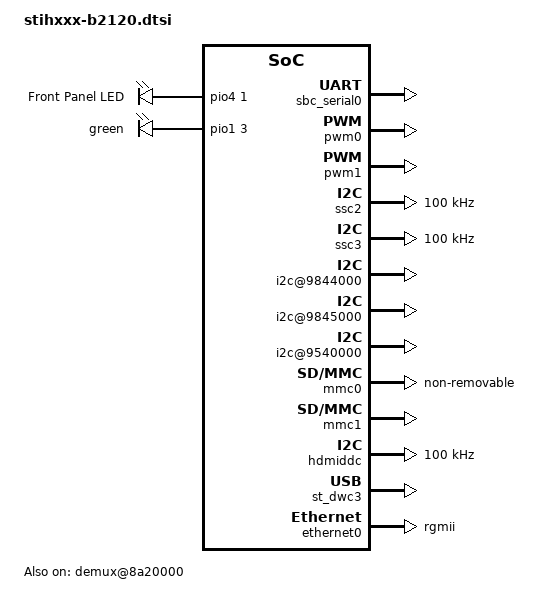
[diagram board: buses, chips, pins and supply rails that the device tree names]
// SPDX-License-Identifier: GPL-2.0-only
/*
 * Copyright (C) 2014 STMicroelectronics (R&D) Limited.
 * Author: Giuseppe Cavallaro <peppe.cavallaro@st.com>
 */
#include <dt-bindings/clock/stih407-clks.h>
#include <dt-bindings/gpio/gpio.h>
#include <dt-bindings/media/c8sectpfe.h>
/ {
	leds {
		compatible = "gpio-leds";
		red {
			label = "Front Panel LED";
			gpios = <&pio4 1 GPIO_ACTIVE_HIGH>;
			linux,default-trigger = "heartbeat";
		};
		green {
			gpios = <&pio1 3 GPIO_ACTIVE_HIGH>;
			default-state = "off";
		};
	};

	sound: sound {
		compatible = "simple-audio-card";
		simple-audio-card,name = "STI-B2120";
		status = "okay";
		#address-cells = <1>;
		#size-cells = <0>;

		simple-audio-card,dai-link@0 {
			reg = <0>;
			/* HDMI */
			format = "i2s";
			mclk-fs = <128>;
			cpu {
				sound-dai = <&sti_uni_player0>;
			};

			codec {
				sound-dai = <&sti_hdmi>;
			};
		};

		simple-audio-card,dai-link@1 {
			reg = <1>;
			/* DAC */
			format = "i2s";
			mclk-fs = <256>;
			frame-inversion;
			cpu {
				sound-dai = <&sti_uni_player2>;
			};

			codec {
				sound-dai = <&sti_sasg_codec 1>;
			};
		};

		simple-audio-card,dai-link@2 {
			reg = <2>;
			/* SPDIF */
			format = "left_j";
			mclk-fs = <128>;
			cpu {
				sound-dai = <&sti_uni_player3>;
			};

			codec {
				sound-dai = <&sti_sasg_codec 0>;
			};
		};
	};

	miphy28lp_phy: miphy28lp {

		phy_port0: port@9b22000 {
			st,osc-rdy;
		};

		phy_port1: port@9b2a000 {
			st,osc-force-ext;
		};
	};

	soc {
		sbc_serial0: serial@9530000 {
			status = "okay";
		};

		pwm0: pwm@9810000 {
			status = "okay";
		};

		pwm1: pwm@9510000 {
			status = "okay";
		};

		ssc2: i2c@9842000 {
			status = "okay";
			clock-frequency = <100000>;
			st,i2c-min-scl-pulse-width-us = <0>;
			st,i2c-min-sda-pulse-width-us = <5>;
		};

		ssc3: i2c@9843000 {
			status = "okay";
			clock-frequency = <100000>;
			st,i2c-min-scl-pulse-width-us = <0>;
			st,i2c-min-sda-pulse-width-us = <5>;
		};

		i2c@9844000 {
			status = "okay";
		};

		i2c@9845000 {
			status = "okay";
		};

		i2c@9540000 {
			status = "okay";
		};

		mmc0: sdhci@9060000 {
			non-removable;
			status = "okay";
		};

		mmc1: sdhci@9080000 {
			status = "okay";
		};

		/* SSC11 to HDMI */
		hdmiddc: i2c@9541000 {
			status = "okay";
			/* HDMI V1.3a supports Standard mode only */
			clock-frequency = <100000>;
			st,i2c-min-scl-pulse-width-us = <0>;
			st,i2c-min-sda-pulse-width-us = <5>;
		};

		st_dwc3: dwc3@8f94000 {
			status = "okay";
		};

		ethernet0: dwmac@9630000 {
			st,tx-retime-src = "clkgen";
			status = "okay";
			phy-mode = "rgmii";
			fixed-link = <0 1 1000 0 0>;
		};

		demux@8a20000 {
			compatible	= "st,stih407-c8sectpfe";
			status		= "okay";
			reg		= <0x08a20000 0x10000>,
					  <0x08a00000 0x4000>;
			reg-names	= "c8sectpfe", "c8sectpfe-ram";
			interrupts	= <GIC_SPI 34 IRQ_TYPE_LEVEL_HIGH>,
					  <GIC_SPI 35 IRQ_TYPE_LEVEL_HIGH>;
			interrupt-names	= "c8sectpfe-error-irq",
					  "c8sectpfe-idle-irq";
			pinctrl-0	= <&pinctrl_tsin0_serial>;
			pinctrl-1	= <&pinctrl_tsin0_parallel>;
			pinctrl-2	= <&pinctrl_tsin3_serial>;
			pinctrl-3	= <&pinctrl_tsin4_serial_alt3>;
			pinctrl-4	= <&pinctrl_tsin5_serial_alt1>;
			pinctrl-names	= "tsin0-serial",
					  "tsin0-parallel",
					  "tsin3-serial",
					  "tsin4-serial",
					  "tsin5-serial";
			clocks		= <&clk_s_c0_flexgen CLK_PROC_STFE>;
			clock-names	= "c8sectpfe";

			/* tsin0 is TSA on NIMA */
			tsin0: port {
				tsin-num	= <0>;
				serial-not-parallel;
				i2c-bus		= <&ssc2>;
				reset-gpios	= <&pio15 4 GPIO_ACTIVE_HIGH>;
				dvb-card	= <STV0367_TDA18212_NIMA_1>;
			};
		};

		sti_uni_player0: sti-uni-player@8d80000 {
			status = "okay";
		};

		sti_uni_player2: sti-uni-player@8d82000 {
			status = "okay";
		};

		sti_uni_player3: sti-uni-player@8d85000 {
			status = "okay";
		};

		syscfg_core: core-syscfg@92b0000 {
			sti_sasg_codec: sti-sasg-codec {
				status = "okay";
				pinctrl-names = "default";
				pinctrl-0 = <&pinctrl_spdif_out>;
			};
		};
	};
};
